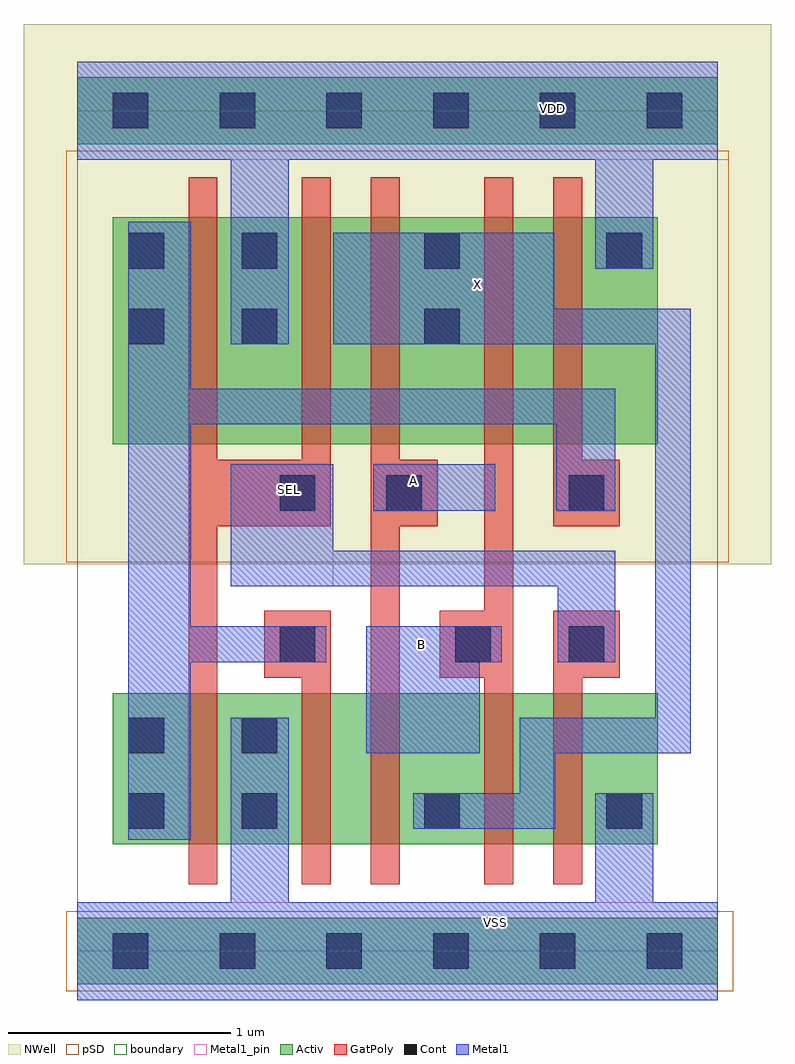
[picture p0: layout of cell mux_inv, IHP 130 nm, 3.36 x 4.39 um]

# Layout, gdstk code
import gdstk
lib = gdstk.Library(unit=1e-6, precision=1e-09)
def R(c, l, rs):  # rectangles x0, y0, x1, y1
    for r in rs: c.add(gdstk.rectangle(r[:2], r[2:], *l))
def A(c, l, x, y, w, h, nx, ny, dx, dy):  # array of equal rectangles
    R(c, l, [(x+i*dx, y+j*dy, x+i*dx+w, y+j*dy+h) for i in range(nx) for j in range(ny)])
def P(c, l, *ps):  # polygons
    for p in ps: c.add(gdstk.Polygon(p, *l))
Activ = (1, 0)
GatPoly = (5, 0)
Cont = (6, 0)
Metal1 = (8, 0)
Metal1_pin = (8, 2)
pSD = (14, 0)
NWell = (31, 0)
boundary = (189, 4)

mux_inv = lib.new_cell('mux_inv')
R(mux_inv, Activ, [(0,-0.15,2.88,0.15), (0.16,0.48,2.61,1.16), (0.16,2.28,2.61,3.3), (0,3.63,2.88,3.93)])
R(mux_inv, GatPoly, [(0.5,0.3,0.63,3.48), (1.01,0.3,1.14,1.53), (1.32,0.3,1.45,1.53), (1.83,0.3,1.96,1.53), (2.14,0.3,2.27,1.53), (0.84,1.23,1.14,1.53), (1.63,1.23,1.96,1.53), (1.83,1.23,1.96,3.48), (2.14,1.23,2.44,1.53), (1.32,1.4,1.45,3.48), (0.5,1.91,1.14,2.21), (1.01,1.91,1.14,3.48), (1.32,1.91,1.62,2.21), (2.14,1.91,2.44,2.21), (2.14,1.91,2.27,3.48)])
A(mux_inv, Cont, 0.16, -0.08, 0.16, 0.16, 6, 2, 0.48, 3.78)
A(mux_inv, Cont, 0.74, 0.55, 0.16, 0.16, 3, 2, 0.82, 2.52)
R(mux_inv, Cont, [(0.23,0.55,0.39,0.71), (0.23,0.89,0.39,1.05), (0.74,0.89,0.9,1.05), (0.91,1.3,1.07,1.46), (1.7,1.3,1.86,1.46), (2.21,1.3,2.37,1.46), (0.91,1.98,1.07,2.14), (1.39,1.98,1.55,2.14), (2.21,1.98,2.37,2.14), (0.23,2.73,0.39,2.89), (0.74,2.73,0.9,2.89), (1.56,2.73,1.72,2.89), (0.23,3.07,0.39,3.23)])
R(mux_inv, Metal1, [(0.69,-0.22,0.95,1.05), (2.33,-0.22,2.59,0.71), (0.23,0.5,0.51,3.28), (1.51,0.55,2.15,0.71), (1.99,0.55,2.15,1.05), (1.3,0.89,1.81,1.46), (1.99,0.89,2.76,1.05), (2.6,0.89,2.76,2.89), (1.3,1.3,1.91,1.46), (2.16,1.3,2.42,1.8), (0.69,1.64,2.42,1.8), (0.69,1.64,1.15,2.19), (1.33,1.98,1.88,2.19), (2.155,1.98,2.42,2.53), (0.23,2.37,2.42,2.53), (0.69,2.73,0.95,4), (1.15,2.73,2.145,3.23), (1.15,2.73,2.76,2.89), (2.33,3.07,2.59,4)])
P(mux_inv, Metal1, [(0.23,1.3),(0.23,1.375),(0.23,1.46),(1.12,1.46),(1.12,1.3)],
  [(0,3.56),(0,4),(2.88,4),(2.88,3.56),(2.93,3.56),(2.33,3.56)],
  [(0,-0.22),(0,0.22),(1.375,0.22),(1.635,0.22),(2.735,0.22),(2.88,0.22),(2.88,-0.22)])
R(mux_inv, Metal1_pin, [(0,-0.22,2.88,0.22), (1.3,0.89,1.81,1.46), (0.69,1.64,1.15,2.19), (1.33,1.98,1.88,2.19), (1.15,2.73,2.145,3.23), (0,3.56,2.88,4)])
R(mux_inv, pSD, [(-0.05,-0.18,2.95,0.18), (-0.05,1.75,2.93,3.6)])
R(mux_inv, NWell, [(-0.24,1.74,3.12,4.17)])
R(mux_inv, boundary, [(0,0,2.88,3.78)])
mux_inv.add(gdstk.Label('VSS', (1.88,0.13), layer=8, texttype=25))
mux_inv.add(gdstk.Label('VDD', (2.135,3.79), layer=8, texttype=25))
mux_inv.add(gdstk.Label('X', (1.8,3), layer=8, texttype=25))
mux_inv.add(gdstk.Label('B', (1.55,1.38), layer=8, texttype=25))
mux_inv.add(gdstk.Label('A', (1.51,2.115), layer=8, texttype=25))
mux_inv.add(gdstk.Label('SEL', (0.955,2.075), layer=8, texttype=25))

lib.write_gds('mux_inv.gds')
